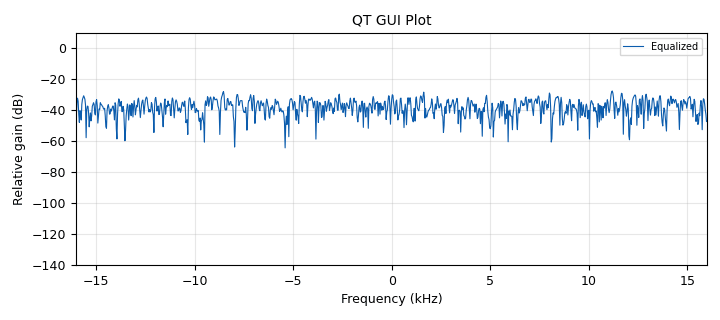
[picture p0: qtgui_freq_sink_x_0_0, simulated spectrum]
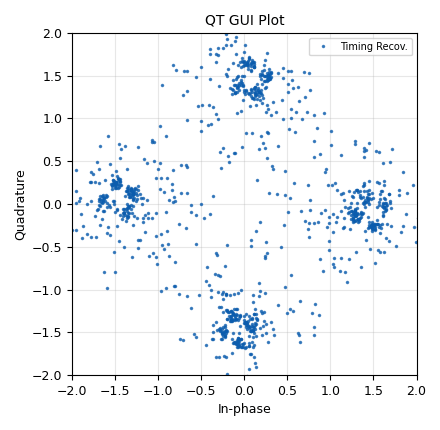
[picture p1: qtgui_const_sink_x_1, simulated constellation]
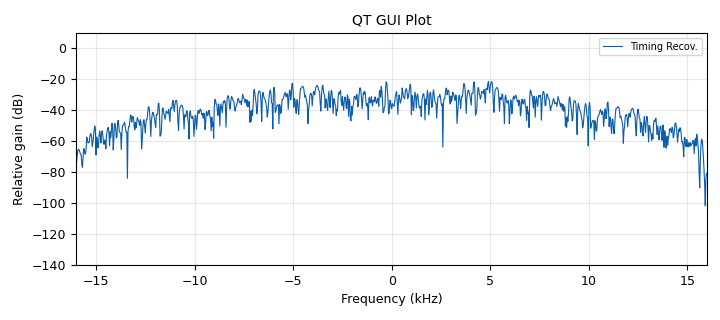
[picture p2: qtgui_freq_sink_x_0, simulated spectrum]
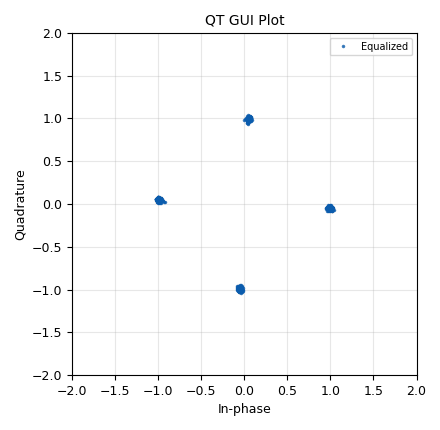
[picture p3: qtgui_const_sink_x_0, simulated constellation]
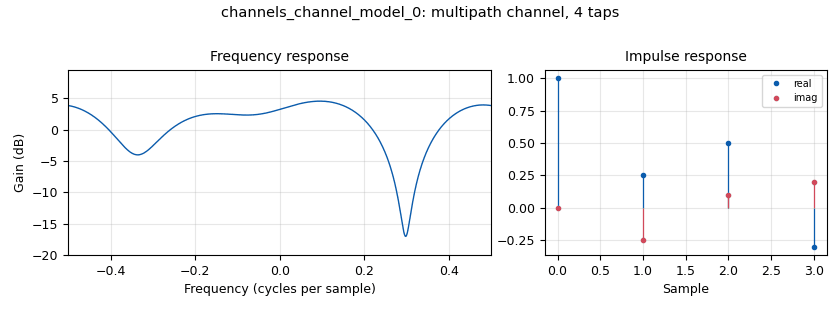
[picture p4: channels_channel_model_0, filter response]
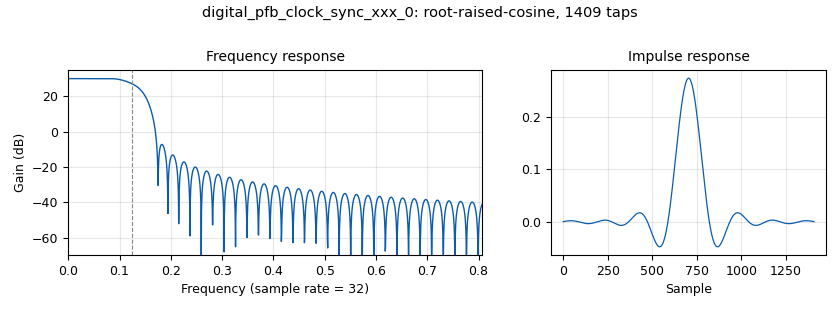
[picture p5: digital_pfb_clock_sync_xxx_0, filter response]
<?xml version='1.0' encoding='utf-8'?>
<flow_graph>
<block>
<key>options</key>
<param><key>id</key><value>mpsk_stage4</value></param>
<param><key>generate_options</key><value>qt_gui</value></param>
<param><key>category</key><value>Custom</value></param>
</block>
<block>
<key>variable</key>
<param><key>id</key><value>taps</value></param>
<param><key>_enabled</key><value>False</value></param>
<param><key>value</key><value>[1.0 + 0.0j, ]</value></param>
</block>
<block>
<key>variable</key>
<param><key>id</key><value>excess_bw</value></param>
<param><key>value</key><value>0.35</value></param>
</block>
<block>
<key>variable</key>
<param><key>id</key><value>samp_rate</value></param>
<param><key>value</key><value>32000</value></param>
</block>
<block>
<key>variable</key>
<param><key>id</key><value>sps</value></param>
<param><key>value</key><value>4</value></param>
</block>
<block>
<key>variable</key>
<param><key>id</key><value>arity</value></param>
<param><key>value</key><value>4</value></param>
</block>
<block>
<key>variable</key>
<param><key>id</key><value>taps</value></param>
<param><key>value</key><value>[1.0, 0.25-0.25j, 0.50 + 0.10j, -0.3 + 0.2j]</value></param>
</block>
<block>
<key>variable</key>
<param><key>id</key><value>rrc_taps</value></param>
<param><key>value</key><value>firdes.root_raised_cosine(nfilts, nfilts, 1.0/float(sps), 0.35, 11*sps*nfilts)</value></param>
</block>
<block>
<key>variable</key>
<param><key>id</key><value>nfilts</value></param>
<param><key>value</key><value>32</value></param>
</block>
<block>
<key>channels_channel_model</key>
<param><key>id</key><value>channels_channel_model_0</value></param>
<param><key>noise_voltage</key><value>noise_volt</value></param>
<param><key>freq_offset</key><value>freq_offset</value></param>
<param><key>epsilon</key><value>time_offset</value></param>
<param><key>taps</key><value>taps</value></param>
<param><key>seed</key><value>0</value></param>
</block>
<block>
<key>analog_random_source_x</key>
<param><key>id</key><value>analog_random_source_x_0</value></param>
<param><key>type</key><value>byte</value></param>
<param><key>min</key><value>0</value></param>
<param><key>max</key><value>256</value></param>
<param><key>num_samps</key><value>10000</value></param>
<param><key>repeat</key><value>True</value></param>
</block>
<block>
<key>digital_psk_mod</key>
<param><key>id</key><value>digital_psk_mod_0</value></param>
<param><key>constellation_points</key><value>arity</value></param>
<param><key>mod_code</key><value>"gray"</value></param>
<param><key>differential</key><value>True</value></param>
<param><key>samples_per_symbol</key><value>sps</value></param>
<param><key>excess_bw</key><value>excess_bw</value></param>
</block>
<block>
<key>blocks_throttle</key>
<param><key>id</key><value>blocks_throttle_0</value></param>
<param><key>type</key><value>complex</value></param>
<param><key>samples_per_second</key><value>samp_rate</value></param>
</block>
<block>
<key>variable_qtgui_range</key>
<param><key>id</key><value>noise_volt</value></param>
<param><key>label</key><value>Channel: Noise Voltage</value></param>
<param><key>value</key><value>0.0001</value></param>
<param><key>start</key><value>0</value></param>
<param><key>stop</key><value>1</value></param>
<param><key>step</key><value>0.01</value></param>
<param><key>widget</key><value>slider</value></param>
<param><key>orient</key><value>Qt.Horizontal</value></param>
<param><key>gui_hint</key><value>2,0,1,1</value></param>
</block>
<block>
<key>variable_qtgui_range</key>
<param><key>id</key><value>freq_offset</value></param>
<param><key>label</key><value>Channel: Frequency Offset</value></param>
<param><key>value</key><value>0</value></param>
<param><key>start</key><value>-0.1</value></param>
<param><key>stop</key><value>0.1</value></param>
<param><key>step</key><value>0.001</value></param>
<param><key>widget</key><value>slider</value></param>
<param><key>orient</key><value>Qt.Horizontal</value></param>
<param><key>gui_hint</key><value>2,1,1,1</value></param>
</block>
<block>
<key>variable_qtgui_range</key>
<param><key>id</key><value>time_offset</value></param>
<param><key>label</key><value>Channel: Timing Offset</value></param>
<param><key>value</key><value>1.00</value></param>
<param><key>start</key><value>0.999</value></param>
<param><key>stop</key><value>1.001</value></param>
<param><key>step</key><value>0.0001</value></param>
<param><key>widget</key><value>slider</value></param>
<param><key>orient</key><value>Qt.Horizontal</value></param>
<param><key>gui_hint</key><value>3,0,1,1</value></param>
</block>
<block>
<key>variable_qtgui_range</key>
<param><key>id</key><value>eq_gain</value></param>
<param><key>label</key><value>Equalizer: rate</value></param>
<param><key>value</key><value>0.01</value></param>
<param><key>start</key><value>0.0</value></param>
<param><key>stop</key><value>0.1</value></param>
<param><key>step</key><value>0.001</value></param>
<param><key>widget</key><value>slider</value></param>
<param><key>orient</key><value>Qt.Horizontal</value></param>
<param><key>gui_hint</key><value>4,0,1,1</value></param>
</block>
<block>
<key>variable_qtgui_range</key>
<param><key>id</key><value>timing_loop_bw</value></param>
<param><key>label</key><value>Time: BW</value></param>
<param><key>value</key><value>6.28/100.0</value></param>
<param><key>start</key><value>0.0</value></param>
<param><key>stop</key><value>0.2</value></param>
<param><key>step</key><value>0.01</value></param>
<param><key>widget</key><value>slider</value></param>
<param><key>orient</key><value>Qt.Horizontal</value></param>
<param><key>gui_hint</key><value>3,1,1,1</value></param>
</block>
<block>
<key>digital_pfb_clock_sync_xxx</key>
<param><key>id</key><value>digital_pfb_clock_sync_xxx_0</value></param>
<param><key>type</key><value>ccf</value></param>
<param><key>sps</key><value>sps</value></param>
<param><key>loop_bw</key><value>timing_loop_bw</value></param>
<param><key>taps</key><value>rrc_taps</value></param>
<param><key>filter_size</key><value>nfilts</value></param>
<param><key>init_phase</key><value>nfilts/2</value></param>
<param><key>max_dev</key><value>1.5</value></param>
<param><key>osps</key><value>2</value></param>
</block>
<block>
<key>digital_cma_equalizer_cc</key>
<param><key>id</key><value>digital_cma_equalizer_cc_0</value></param>
<param><key>num_taps</key><value>11</value></param>
<param><key>modulus</key><value>1</value></param>
<param><key>mu</key><value>eq_gain</value></param>
<param><key>sps</key><value>2</value></param>
</block>
<block>
<key>qtgui_freq_sink_x</key>
<param><key>id</key><value>qtgui_freq_sink_x_0_0</value></param>
<param><key>type</key><value>complex</value></param>
<param><key>name</key><value>QT GUI Plot</value></param>
<param><key>fftsize</key><value>1024</value></param>
<param><key>wintype</key><value>firdes.WIN_BLACKMAN_hARRIS</value></param>
<param><key>fc</key><value>0</value></param>
<param><key>bw</key><value>samp_rate</value></param>
<param><key>gui_hint</key><value>1,1,1,1</value></param>
<param><key>label1</key><value>Equalized</value></param>
<param><key>width1</key><value>2</value></param>
<param><key>alpha1</key><value>1</value></param>
</block>
<block>
<key>qtgui_const_sink_x</key>
<param><key>id</key><value>qtgui_const_sink_x_1</value></param>
<param><key>type</key><value>complex</value></param>
<param><key>name</key><value>QT GUI Plot</value></param>
<param><key>size</key><value>1024</value></param>
<param><key>gui_hint</key><value>0,0,1,1</value></param>
<param><key>label1</key><value>Timing Recov.</value></param>
<param><key>alpha1</key><value>0.6</value></param>
</block>
<block>
<key>qtgui_freq_sink_x</key>
<param><key>id</key><value>qtgui_freq_sink_x_0</value></param>
<param><key>type</key><value>complex</value></param>
<param><key>name</key><value>QT GUI Plot</value></param>
<param><key>fftsize</key><value>1024</value></param>
<param><key>wintype</key><value>firdes.WIN_BLACKMAN_hARRIS</value></param>
<param><key>fc</key><value>0</value></param>
<param><key>bw</key><value>samp_rate</value></param>
<param><key>gui_hint</key><value>1,0,1,1</value></param>
<param><key>label1</key><value>Timing Recov.</value></param>
<param><key>width1</key><value>2</value></param>
</block>
<block>
<key>qtgui_const_sink_x</key>
<param><key>id</key><value>qtgui_const_sink_x_0</value></param>
<param><key>type</key><value>complex</value></param>
<param><key>name</key><value>QT GUI Plot</value></param>
<param><key>size</key><value>1024</value></param>
<param><key>gui_hint</key><value>0,1,1,1</value></param>
<param><key>label1</key><value>Equalized</value></param>
<param><key>alpha1</key><value>0.6</value></param>
</block>
<connection><source_block_id>blocks_throttle_0</source_block_id><sink_block_id>channels_channel_model_0</sink_block_id><source_key>0</source_key><sink_key>0</sink_key></connection>
<connection><source_block_id>channels_channel_model_0</source_block_id><sink_block_id>digital_pfb_clock_sync_xxx_0</sink_block_id><source_key>0</source_key><sink_key>0</sink_key></connection>
<connection><source_block_id>analog_random_source_x_0</source_block_id><sink_block_id>digital_psk_mod_0</sink_block_id><source_key>0</source_key><sink_key>0</sink_key></connection>
<connection><source_block_id>digital_psk_mod_0</source_block_id><sink_block_id>blocks_throttle_0</sink_block_id><source_key>0</source_key><sink_key>0</sink_key></connection>
<connection><source_block_id>digital_cma_equalizer_cc_0</source_block_id><sink_block_id>qtgui_freq_sink_x_0_0</sink_block_id><source_key>0</source_key><sink_key>0</sink_key></connection>
<connection><source_block_id>digital_pfb_clock_sync_xxx_0</source_block_id><sink_block_id>qtgui_freq_sink_x_0</sink_block_id><source_key>0</source_key><sink_key>0</sink_key></connection>
<connection><source_block_id>digital_cma_equalizer_cc_0</source_block_id><sink_block_id>qtgui_const_sink_x_0</sink_block_id><source_key>0</source_key><sink_key>0</sink_key></connection>
<connection><source_block_id>digital_pfb_clock_sync_xxx_0</source_block_id><sink_block_id>digital_cma_equalizer_cc_0</sink_block_id><source_key>0</source_key><sink_key>0</sink_key></connection>
<connection><source_block_id>digital_pfb_clock_sync_xxx_0</source_block_id><sink_block_id>qtgui_const_sink_x_1</sink_block_id><source_key>0</source_key><sink_key>0</sink_key></connection>
</flow_graph>
